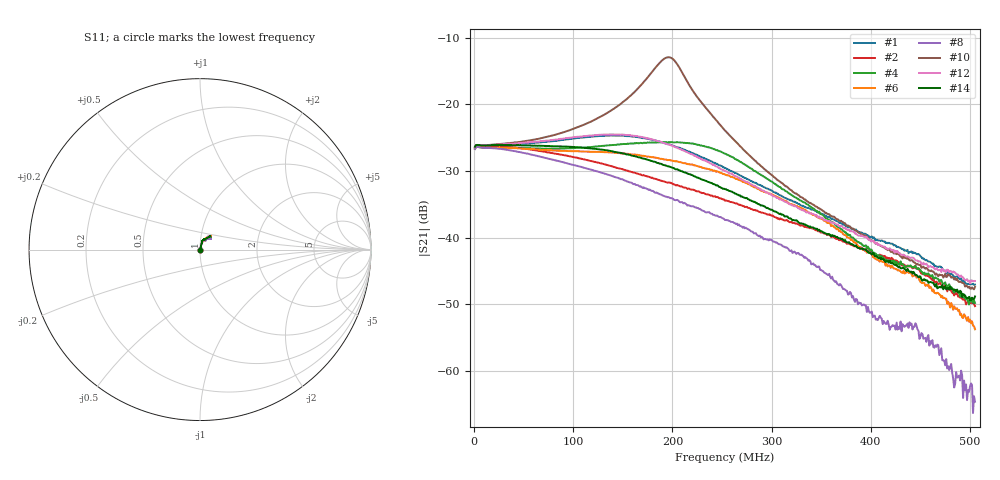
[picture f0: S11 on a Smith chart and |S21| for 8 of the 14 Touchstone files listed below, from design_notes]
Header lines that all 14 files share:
# HZ S RI R 50
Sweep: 1 MHz to 505 MHz
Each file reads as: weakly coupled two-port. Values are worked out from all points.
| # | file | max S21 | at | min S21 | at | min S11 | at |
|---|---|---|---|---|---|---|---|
| 1 | amp_response_rev2_3p3.s2p | -24.67 dB | 139 MHz | -47.1 dB | 504 MHz | -62.6 dB | 2 MHz |
| 2 | amp_response_rev2_6p.s2p | -26.21 dB | 3 MHz | -50.3 dB | 505 MHz | -72.0 dB | 2 MHz |
| 3 | amp_response_rev3_2p2.s2p | -25.41 dB | 192 MHz | -53.0 dB | 505 MHz | -63.6 dB | 2 MHz |
| 4 | amp_response_rev3_2p7.s2p | -25.66 dB | 200 MHz | -50.1 dB | 499 MHz | -65.0 dB | 2 MHz |
| 5 | amp_response_rev3_3p0.s2p | -26.34 dB | 3 MHz | -51.7 dB | 505 MHz | -66.2 dB | 2 MHz |
| 6 | amp_response_rev3_3p3.s2p | -26.36 dB | 3 MHz | -53.8 dB | 505 MHz | -61.3 dB | 2 MHz |
| 7 | amp_response_rev3_5p.s2p | -26.35 dB | 3 MHz | -54.7 dB | 505 MHz | -66.4 dB | 2 MHz |
| 8 | amp_response_rev3_5p_220ohm.s2p | -26.39 dB | 3 MHz | -66.4 dB | 503 MHz | -89.9 dB | 2 MHz |
| 9 | amp_response_rev3_6p_220ohm.s2p | -26.34 dB | 3 MHz | -63.0 dB | 504 MHz | -70.5 dB | 2 MHz |
| 10 | amp_response_rev4_0p.s2p | -12.91 dB | 196 MHz | -47.8 dB | 504 MHz | -61.2 dB | 2 MHz |
| 11 | amp_response_rev4_3p3.s2p | -24.74 dB | 137 MHz | -48.6 dB | 504 MHz | -62.4 dB | 1 MHz |
| 12 | amp_response_rev4_3p3_R9_shorted.s2p | -24.49 dB | 139 MHz | -46.9 dB | 500 MHz | -66.6 dB | 2 MHz |
| 13 | amp_response_rev4_4p8.s2p | -25.78 dB | 93 MHz | -49.1 dB | 500 MHz | -70.4 dB | 1 MHz |
| 14 | amp_response_rev4_5p.s2p | -26.09 dB | 4 MHz | -49.4 dB | 500 MHz | -67.2 dB | 1 MHz |
